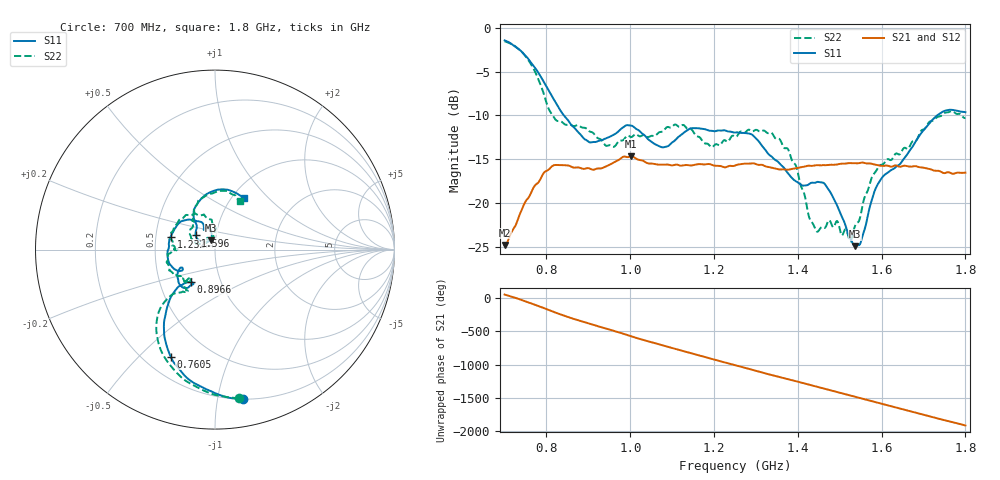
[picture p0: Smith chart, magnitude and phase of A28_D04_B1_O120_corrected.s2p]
! Created with skrf 1.9.0 (http://scikit-rf.org).
# Hz S RI R 50.0
!freq ReS11 ImS11 ReS21 ImS21 ReS12 ImS12 ReS22 ImS22
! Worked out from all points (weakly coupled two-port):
!   1601 points, 700 MHz to 1.8 GHz, reference 50 ohm
!   highest |S21| = -14.68 dB at 1.002 GHz (marker M1); lowest = -24.8 dB at 700.7 MHz (marker M2)
!   lowest |S11| = -25.0 dB at 1.537 GHz (marker M3), VSWR 1.12, Z = 47.3 + j4.82 ohm
!   |S11| at or under -10 dB: 841.4 MHz to 1.733 GHz (891.2 MHz wide, 69.2 % of centre)
!   |S22| runs from -24.4 to -1.5 dB; largest |S21 - S12| = 0.0033
!   S11 on the Smith chart (normalised r, x): 700 MHz: 0.20, -1.19; 760.5 MHz: 0.31, -0.62; 896.6 MHz: 0.72, -0.28; 1.232 GHz: 0.60, +0.09; 1.596 GHz: 0.80, +0.13; 1.8 GHz: 1.14, +0.73
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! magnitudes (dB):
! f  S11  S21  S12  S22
! 700 MHz  -1.4  -24.8  -24.6  -1.5
! 700.7 MHz  -1.4  -24.8  -24.5  -1.5
! 760.5 MHz  -3.8  -19.1  -19.0  -4.0
! 819.6 MHz  -8.3  -15.7  -15.8  -10.4
! 883.6 MHz  -12.3  -16.1  -16.0  -11.4
! 896.6 MHz  -12.9  -16.0  -16.1  -11.6
! 944.8 MHz  -12.6  -15.8  -15.8  -13.5
! 1.002 GHz  -11.2  -14.7  -14.8  -12.5
! 1.067 GHz  -13.5  -15.6  -15.6  -12.0
! 1.232 GHz  -11.8  -15.9  -15.8  -13.0
! 1.25 GHz  -12.0  -15.7  -15.7  -12.4
! 1.357 GHz  -15.5  -16.2  -16.1  -12.7
! 1.396 GHz  -17.5  -16.0  -16.0  -15.8
! 1.434 GHz  -17.7  -15.8  -15.7  -22.2
! 1.469 GHz  -18.2  -15.7  -15.7  -22.4
! 1.525 GHz  -24.1  -15.4  -15.4  -24.4
! 1.537 GHz  -25.0  -15.5  -15.5  -22.6
! 1.551 GHz  -24.4  -15.4  -15.4  -21.1
! 1.596 GHz  -17.5  -15.7  -15.7  -15.7
! 1.617 GHz  -16.5  -15.8  -15.7  -15.0
! 1.733 GHz  -10.0  -16.3  -16.4  -10.2
! 1.8 GHz  -9.6  -16.5  -16.5  -10.3
